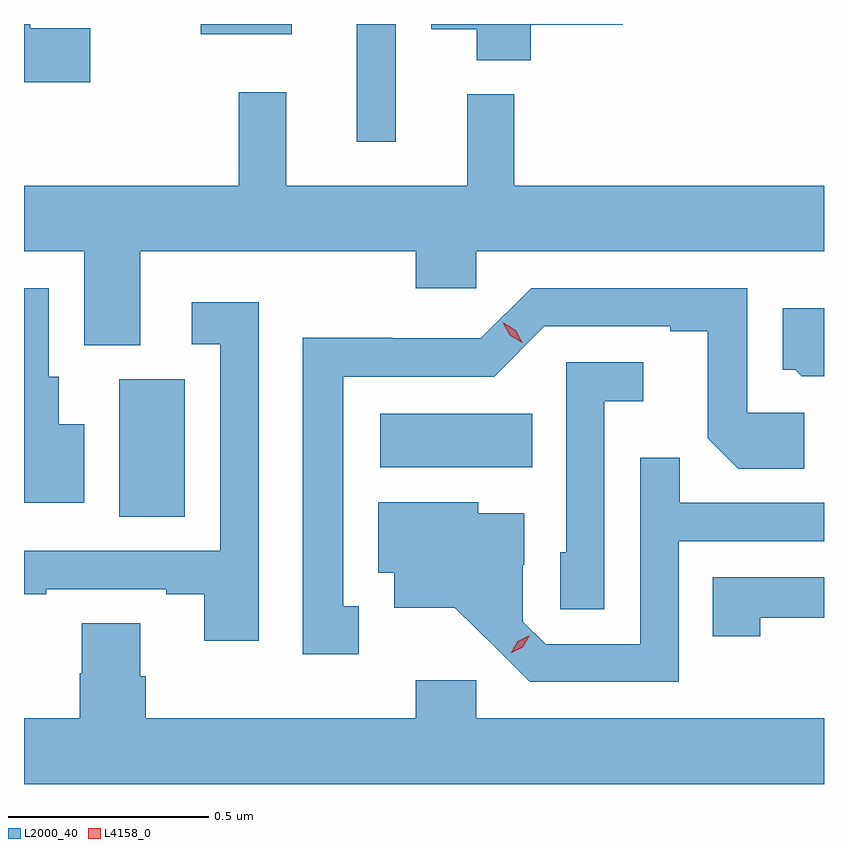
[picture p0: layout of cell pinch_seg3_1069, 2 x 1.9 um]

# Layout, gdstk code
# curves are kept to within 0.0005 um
import gdstk
lib = gdstk.Library(unit=1e-6, precision=1e-09)
def R(c, l, rs):  # rectangles x0, y0, x1, y1
    for r in rs: c.add(gdstk.rectangle(r[:2], r[2:], *l))
def P(c, l, *ps):  # polygons
    for p in ps: c.add(gdstk.Polygon(p, *l))
L2000_40 = (2000, 40)
L4158_0 = (4158, 0)

pinch_seg3_1069 = lib.new_cell('pinch_seg3_1069')
R(pinch_seg3_1069, L2000_40, [(334.97,693.592,335.134,693.936), (335.622,693.716,336.002,693.85), (335.564,694.53,335.661,694.824), (335.174,694.799,335.401,694.824)])
P(pinch_seg3_1069, L2000_40, [(335.999,694.822),(336.229,694.822),(336.229,694.824),(335.75,694.824),(335.75,694.811),(335.864,694.811),(335.864,694.733),(335.999,694.733)],
  [(334.897,694.814),(334.747,694.814),(334.747,694.824),(334.732,694.824),(334.732,694.679),(334.897,694.679)],
  [(335.862,694.256),(336.732,694.256),(336.732,694.42),(335.957,694.42),(335.957,694.648),(335.84,694.648),(335.84,694.42),(335.387,694.42),(335.387,694.654),(335.269,694.654),(335.269,694.42),(334.732,694.42),(334.732,694.256),(334.883,694.256),(334.883,694.021),(335.023,694.021),(335.023,694.256),(335.711,694.256),(335.711,694.163),(335.862,694.163)],
  [(335.569,693.369),(335.53,693.369),(335.53,693.942),(335.907,693.942),(336.033,694.068),(336.347,694.068),(336.347,694.056),(336.441,694.056),(336.441,693.788),(336.517,693.712),(336.682,693.712),(336.682,693.852),(336.54,693.852),(336.54,694.164),(336,694.164),(335.874,694.038),(335.652,694.038),(335.652,694.04),(335.429,694.04),(335.429,693.249),(335.569,693.249)],
  [(334.882,693.823),(334.819,693.823),(334.819,693.942),(334.794,693.942),(334.794,694.164),(334.732,694.164),(334.732,693.627),(334.882,693.627)],
  [(335.319,694.129),(335.151,694.129),(335.151,694.023),(335.223,694.023),(335.223,693.507),(334.732,693.507),(334.732,693.399),(334.787,693.399),(334.787,693.411),(335.087,693.411),(335.087,693.399),(335.183,693.399),(335.183,693.282),(335.319,693.282)],
  [(336.732,694.114),(336.629,694.114),(336.629,693.96),(336.66,693.96),(336.676,693.944),(336.732,693.944)],
  [(336.183,693.881),(336.28,693.881),(336.28,693.978),(336.087,693.978),(336.087,693.504),(336.072,693.504),(336.072,693.361),(336.183,693.361)],
  [(336.369,693.531),(336.732,693.531),(336.732,693.627),(336.371,693.627),(336.371,693.74),(336.273,693.74),(336.273,693.273),(336.036,693.273),(335.979,693.33),(335.979,693.472),(335.983,693.472),(335.983,693.601),(335.868,693.601),(335.868,693.628),(335.618,693.628),(335.618,693.452),(335.657,693.452),(335.657,693.365),(335.809,693.365),(335.996,693.18),(336.369,693.18)],
  [(336.573,693.34),(336.732,693.34),(336.732,693.441),(336.454,693.441),(336.454,693.294),(336.573,693.294)],
  [(336.732,693.088),(335.862,693.088),(335.862,693.184),(335.711,693.184),(335.711,693.088),(335.036,693.088),(335.036,693.194),(335.023,693.194),(335.023,693.326),(334.876,693.326),(334.876,693.201),(334.871,693.201),(334.871,693.088),(334.732,693.088),(334.732,692.924),(336.732,692.924)])
P(pinch_seg3_1069, L4158_0, [(335.949,693.251),(335.949,693.251),(335.966,693.281),(335.996,693.296),(335.996,693.296),(335.996,693.296),(335.979,693.266),(335.949,693.251)],
  [(335.978,694.027),(335.946,694.046),(335.929,694.078),(335.929,694.078),(335.929,694.078),(335.961,694.059),(335.978,694.027),(335.978,694.027)])

lib.write_gds('pinch_seg3_1069.gds')
